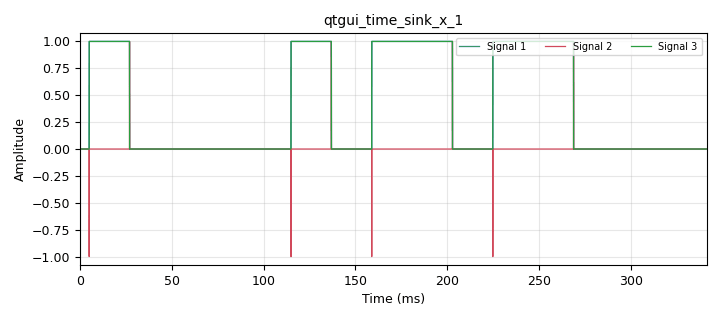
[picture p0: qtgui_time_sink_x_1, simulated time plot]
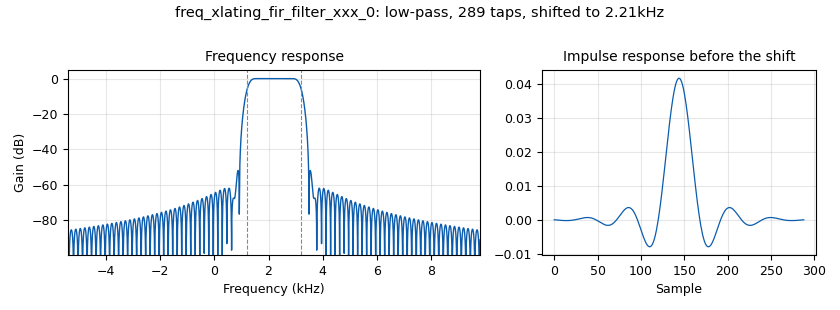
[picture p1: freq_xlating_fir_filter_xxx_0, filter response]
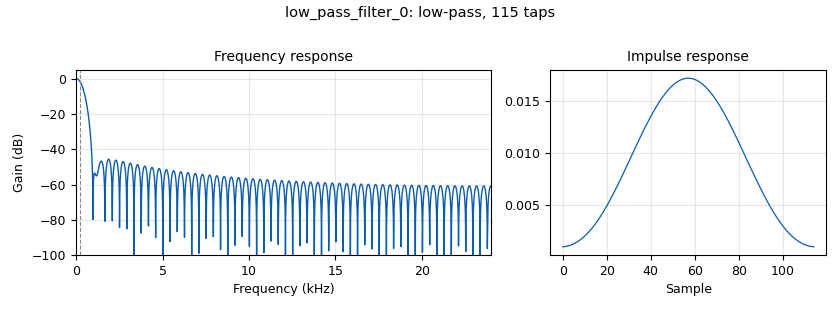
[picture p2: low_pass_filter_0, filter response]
options:
  parameters:
    author: gpellaeon
    generate_options: qt_gui
    id: fsk
    output_language: python
    title: Not titled yet
  states: {}

blocks:
- name: baud
  id: variable
  parameters:
    value: 1/0.022
  states: {}
- name: center
  id: variable
  parameters:
    value: '2210'
  states: {}
- name: delay
  id: variable_qtgui_range
  parameters:
    label: Delay
    orient: Qt.Horizontal
    start: '0'
    step: '1'
    stop: '250'
    value: '200'
  states: {}
- name: fsk_deviation
  id: variable
  parameters:
    value: '170'
  states: {}
- name: inp_amp
  id: variable
  parameters:
    value: '0.068'
  states: {}
- name: repeat
  id: variable
  parameters:
    value: (int)(samp_rate*0.022)
  states: {}
- name: samp_rate
  id: variable
  parameters:
    value: '48000'
  states: {}
- name: sq_lvl
  id: variable_qtgui_range
  parameters:
    label: Squelch
    orient: Qt.Horizontal
    start: '-100'
    step: '5'
    stop: '0'
    value: '-70'
  states: {}
- name: vco_max
  id: variable
  parameters:
    value: 2.5e3
  states: {}
- name: vco_offset
  id: variable
  parameters:
    value: '0.85'
  states: {}
- name: analog_quadrature_demod_cf_0
  id: analog_quadrature_demod_cf
  parameters:
    gain: samp_rate/(2*math.pi*fsk_deviation/8.0)
  states: {}
- name: analog_random_source_x_0
  id: analog_random_source_x
  parameters:
    max: '256'
    min: '0'
    num_samps: '1000'
    repeat: 'True'
    type: byte
  states: {}
- name: analog_simple_squelch_cc_0
  id: analog_simple_squelch_cc
  parameters:
    alpha: '1'
    threshold: sq_lvl
  states: {}
- name: blocks_add_const_vxx_0
  id: blocks_add_const_vxx
  parameters:
    const: vco_offset
    type: float
  states: {}
- name: blocks_delay_0
  id: blocks_delay
  parameters:
    delay: delay
    type: float
  states: {}
- name: blocks_multiply_const_vxx_0
  id: blocks_multiply_const_vxx
  parameters:
    const: inp_amp
    type: float
  states: {}
- name: blocks_repeat_0
  id: blocks_repeat
  parameters:
    interp: repeat
    type: byte
  states: {}
- name: blocks_sub_xx_0
  id: blocks_sub_xx
  parameters:
    type: float
  states: {}
- name: blocks_throttle_0
  id: blocks_throttle
  parameters:
    samples_per_second: samp_rate
    type: byte
  states: {}
- name: blocks_uchar_to_float_0
  id: blocks_uchar_to_float
  parameters: {}
  states: {}
- name: blocks_uchar_to_float_1
  id: blocks_uchar_to_float
  parameters: {}
  states: {}
- name: blocks_unpack_k_bits_bb_0
  id: blocks_unpack_k_bits_bb
  parameters:
    k: '8'
  states: {}
- name: blocks_vco_f_0
  id: blocks_vco_f
  parameters:
    amplitude: '0.5'
    samp_rate: samp_rate
    sensitivity: 15.708e3
  states: {}
- name: digital_binary_slicer_fb_0
  id: digital_binary_slicer_fb
  parameters: {}
  states: {}
- name: freq_xlating_fir_filter_xxx_0
  id: freq_xlating_fir_filter_xxx
  parameters:
    center_freq: 2.21e3
    decim: '1'
    samp_rate: samp_rate
    taps: firdes.low_pass(1.0,samp_rate, 1000, 400)
    type: fcf
  states: {}
- name: low_pass_filter_0
  id: low_pass_filter
  parameters:
    cutoff_freq: '200'
    decim: '1'
    gain: '1'
    samp_rate: samp_rate
    type: fir_filter_fff
    width: '1000'
    win: firdes.WIN_HAMMING
  states: {}
- name: qtgui_time_sink_x_0
  id: qtgui_time_sink_x
  parameters:
    ctrlpanel: 'True'
    size: '1024'
    srate: samp_rate
    type: float
  states: {state: disabled}
- name: qtgui_time_sink_x_1
  id: qtgui_time_sink_x
  parameters:
    ctrlpanel: 'True'
    nconnections: '3'
    size: '16384'
    srate: samp_rate
    type: float
  states: {}
- name: virtual_sink_0
  id: virtual_sink
  parameters:
    stream_id: '"xmt_data"'
  states: {}
- name: virtual_sink_0_0
  id: virtual_sink
  parameters:
    stream_id: '"fsk_out"'
  states: {}
- name: virtual_source_0
  id: virtual_source
  parameters:
    stream_id: '"xmt_data"'
  states: {}
- name: virtual_source_0_0
  id: virtual_source
  parameters:
    stream_id: '"fsk_out"'
  states: {}
- name: virtual_source_0_1
  id: virtual_source
  parameters:
    stream_id: '"xmt_data"'
  states: {}

connections:
- [analog_quadrature_demod_cf_0, '0', digital_binary_slicer_fb_0, '0']
- [analog_random_source_x_0, '0', blocks_unpack_k_bits_bb_0, '0']
- [analog_simple_squelch_cc_0, '0', analog_quadrature_demod_cf_0, '0']
- [blocks_add_const_vxx_0, '0', blocks_vco_f_0, '0']
- [blocks_delay_0, '0', blocks_sub_xx_0, '1']
- [blocks_delay_0, '0', qtgui_time_sink_x_1, '2']
- [blocks_multiply_const_vxx_0, '0', blocks_add_const_vxx_0, '0']
- [blocks_repeat_0, '0', blocks_throttle_0, '0']
- [blocks_sub_xx_0, '0', qtgui_time_sink_x_1, '1']
- [blocks_throttle_0, '0', blocks_uchar_to_float_0, '0']
- [blocks_uchar_to_float_0, '0', qtgui_time_sink_x_0, '0']
- [blocks_uchar_to_float_0, '0', virtual_sink_0, '0']
- [blocks_uchar_to_float_1, '0', blocks_sub_xx_0, '0']
- [blocks_uchar_to_float_1, '0', qtgui_time_sink_x_1, '0']
- [blocks_unpack_k_bits_bb_0, '0', blocks_repeat_0, '0']
- [blocks_vco_f_0, '0', virtual_sink_0_0, '0']
- [digital_binary_slicer_fb_0, '0', blocks_uchar_to_float_1, '0']
- [freq_xlating_fir_filter_xxx_0, '0', analog_simple_squelch_cc_0, '0']
- [low_pass_filter_0, '0', blocks_multiply_const_vxx_0, '0']
- [virtual_source_0, '0', low_pass_filter_0, '0']
- [virtual_source_0_0, '0', freq_xlating_fir_filter_xxx_0, '0']
- [virtual_source_0_1, '0', blocks_delay_0, '0']

metadata:
  file_format: 1
